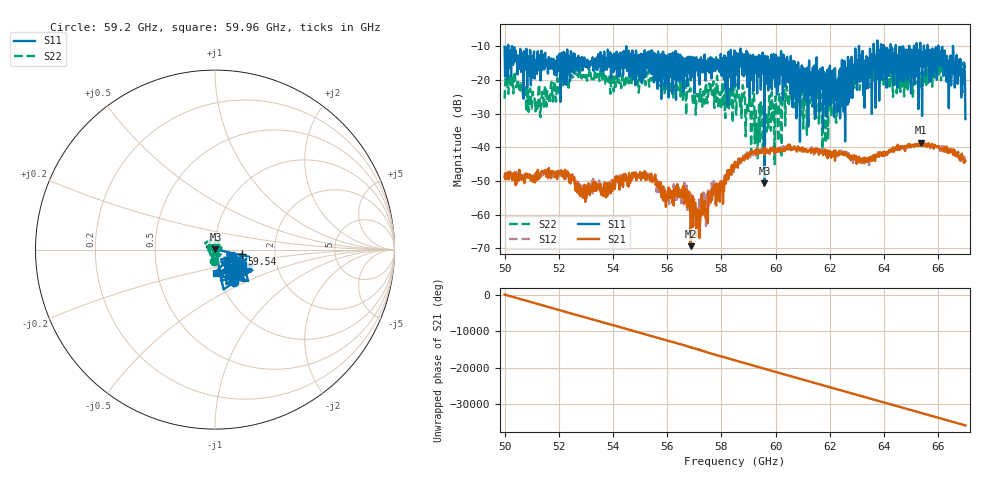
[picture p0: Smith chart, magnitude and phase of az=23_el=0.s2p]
!Created with skrf (http://scikit-rf.org).
# GHz S RI R 50.0
!freq ReS11 ImS11 ReS21 ImS21 ReS12 ImS12 ReS22 ImS22
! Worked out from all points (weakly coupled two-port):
!   1001 points, 50 GHz to 67 GHz, reference 50 ohm
!   highest |S21| = -38.58 dB at 65.37 GHz (marker M1); lowest = -69.4 dB at 56.87 GHz (marker M2)
!   lowest |S11| = -50.7 dB at 59.59 GHz (marker M3), VSWR 1.01, Z = 50.3 + j0.137 ohm
!   |S11| at or under -10 dB: 50.27 GHz to 54.49 GHz (4.216 GHz wide, 8.05 % of centre); 54.49 GHz to 63.07 GHz (8.584 GHz wide, 14.6 % of centre); 63.07 GHz to 63.62 GHz (541.3 MHz wide, 0.855 % of centre) (the widest 3 of 19)
!   |S22| runs from -45.0 to -14.0 dB; largest |S21 - S12| = 0.0027
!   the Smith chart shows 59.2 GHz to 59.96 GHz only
!   S11 on the Smith chart (normalised r, x): 59.2 GHz: 1.15, -0.43; 59.54 GHz: 1.35, -0.07; 59.96 GHz: 0.97, -0.25
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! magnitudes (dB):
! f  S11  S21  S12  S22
! 50 GHz  -10.2  -48.9  -48.9  -25.6
! 50.42 GHz  -14.3  -48.0  -48.7  -22.2
! 51.16 GHz  -14.0  -49.2  -48.7  -27.1
! 52.84 GHz  -14.2  -52.9  -51.7  -19.5
! 55.05 GHz  -20.7  -48.0  -48.0  -20.1
! 55.68 GHz  -13.7  -52.0  -51.7  -21.8
! 56.87 GHz  -20.1  -69.4  -58.2  -23.2
! 57.16 GHz  -14.1  -58.8  -62.4  -23.5
! 58.5 GHz  -22.0  -44.3  -45.7  -25.4
! 59.2 GHz  -13.7  -41.2  -41.4  -23.7
! 59.54 GHz  -16.4  -41.0  -41.0  -40.8
! 59.59 GHz  -50.7  -42.2  -41.6  -27.9
! 59.96 GHz  -17.8  -41.8  -41.0  -45.0
! 60.64 GHz  -14.4  -40.7  -40.1  -23.5
! 61.34 GHz  -25.7  -40.4  -39.9  -26.1
! 61.78 GHz  -17.6  -41.1  -41.1  -20.8
! 62.53 GHz  -14.3  -41.4  -42.2  -19.9
! 63.01 GHz  -23.0  -44.1  -43.4  -19.2
! 64.18 GHz  -18.8  -40.9  -41.4  -19.1
! 65.37 GHz  -11.7  -38.6  -39.2  -21.9
! 66.73 GHz  -16.7  -42.4  -42.6  -18.6
! 67 GHz  -31.6  -44.1  -44.2  -15.7
